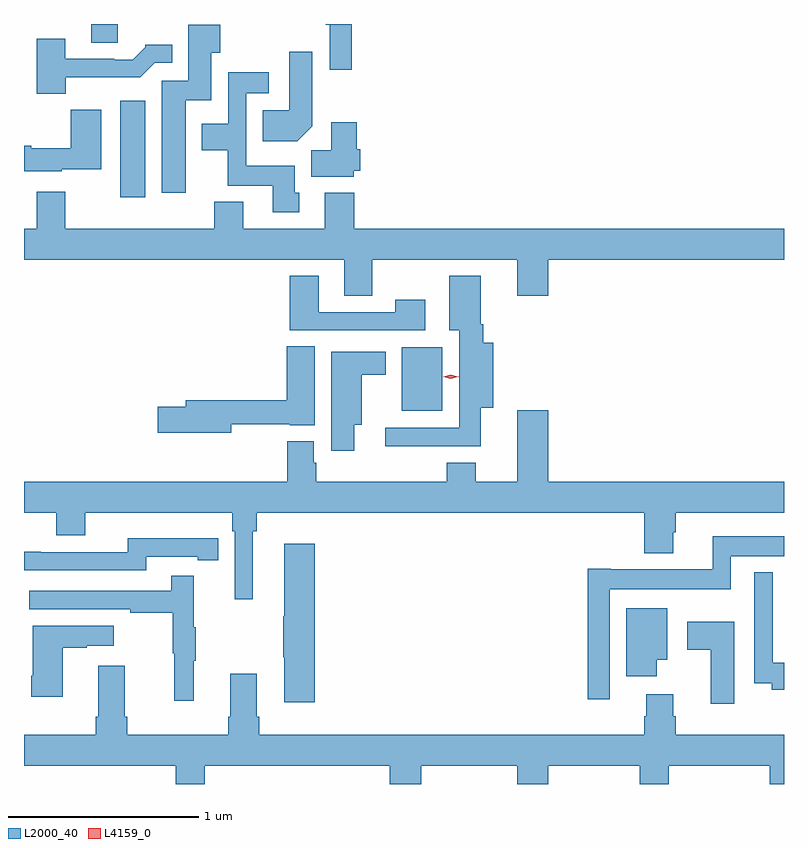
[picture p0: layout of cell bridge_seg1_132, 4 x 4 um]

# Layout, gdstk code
import gdstk
lib = gdstk.Library(unit=1e-6, precision=1e-09)
def R(c, l, rs):  # rectangles x0, y0, x1, y1
    for r in rs: c.add(gdstk.rectangle(r[:2], r[2:], *l))
def P(c, l, *ps):  # polygons
    for p in ps: c.add(gdstk.Polygon(p, *l))
L2000_40 = (2000, 40)
L4159_0 = (4159, 0)

bridge_seg1_132 = lib.new_cell('bridge_seg1_132')
R(bridge_seg1_132, L2000_40, [(500.066,533.621,500.278,533.956), (498.584,534.744,498.715,535.252), (498.431,535.558,498.571,535.657)])
P(bridge_seg1_132, L2000_40, [(499.802,535.657),(499.666,535.657),(499.666,535.652),(499.686,535.652),(499.686,535.416),(499.802,535.416)],
  [(498.928,535.256),(499.063,535.256),(499.063,535.507),(499.11,535.507),(499.11,535.654),(498.941,535.654),(498.941,535.359),(498.803,535.359),(498.803,534.768),(498.928,534.768)],
  [(498.298,535.376),(498.689,535.376),(498.765,535.452),(498.856,535.452),(498.856,535.549),(498.714,535.549),(498.714,535.534),(498.65,535.47),(498.551,535.47),(498.551,535.473),(498.295,535.473),(498.295,535.579),(498.143,535.579),(498.143,535.289),(498.298,535.289)],
  [(499.594,535.118),(499.594,535.51),(499.472,535.51),(499.472,535.204),(499.333,535.204),(499.333,535.04),(499.516,535.04)],
  [(499.525,534.768),(499.501,534.768),(499.501,534.91),(499.248,534.91),(499.248,535.293),(499.366,535.293),(499.366,535.402),(499.152,535.402),(499.152,535.132),(499.013,535.132),(499.013,534.992),(499.15,534.992),(499.15,534.806),(499.385,534.806),(499.385,534.666),(499.525,534.666)],
  [(498.276,534.893),(498.484,534.893),(498.484,535.207),(498.322,535.207),(498.322,535.003),(498.114,535.003),(498.114,535.016),(498.077,535.016),(498.077,534.881),(498.276,534.881)],
  [(499.812,534.885),(499.847,534.885),(499.847,534.999),(499.829,534.999),(499.829,535.141),(499.694,535.141),(499.694,534.992),(499.589,534.992),(499.589,534.854),(499.812,534.854)],
  [(499.911,534.416),(500.672,534.416),(500.672,534.228),(500.836,534.228),(500.836,534.416),(502.077,534.416),(502.077,534.58),(499.814,534.58),(499.814,534.769),(499.661,534.769),(499.661,534.58),(499.231,534.58),(499.231,534.721),(499.079,534.721),(499.079,534.58),(498.295,534.58),(498.295,534.775),(498.143,534.775),(498.143,534.58),(498.077,534.58),(498.077,534.416),(499.763,534.416),(499.763,534.226),(499.911,534.226)],
  [(500.482,533.636),(500.548,533.636),(500.548,533.98),(500.495,533.98),(500.495,534.076),(500.482,534.076),(500.482,534.331),(500.315,534.331),(500.315,534.044),(500.369,534.044),(500.369,533.532),(499.977,533.532),(499.977,533.435),(500.482,533.435)],
  [(500.188,534.205),(500.032,534.205),(500.032,534.141),(499.627,534.141),(499.627,534.331),(499.475,534.331),(499.475,534.045),(500.188,534.045)],
  [(499.168,533.55),(499.476,533.55),(499.476,533.546),(499.606,533.546),(499.606,533.96),(499.46,533.96),(499.46,533.678),(498.929,533.678),(498.929,533.642),(498.78,533.642),(498.78,533.507),(499.168,533.507)],
  [(499.816,533.549),(499.855,533.549),(499.855,533.81),(499.981,533.81),(499.981,533.932),(499.694,533.932),(499.694,533.412),(499.816,533.412)],
  [(499.282,532.988),(499.301,532.988),(499.301,533.084),(501.341,533.084),(501.341,532.871),(501.493,532.871),(501.493,532.983),(501.506,532.983),(501.506,533.084),(502.077,533.084),(502.077,533.248),(500.836,533.248),(500.836,533.623),(500.672,533.623),(500.672,533.248),(500.455,533.248),(500.455,533.347),(500.303,533.347),(500.303,533.248),(499.616,533.248),(499.616,533.349),(499.603,533.349),(499.603,533.461),(499.463,533.461),(499.463,533.248),(498.077,533.248),(498.077,533.084),(498.248,533.084),(498.248,532.967),(498.4,532.967),(498.4,533.084),(499.172,533.084),(499.172,532.988),(499.185,532.988),(499.185,532.629),(499.282,532.629)],
  [(501.159,532.682),(501.798,532.682),(501.798,532.856),(502.077,532.856),(502.077,532.96),(501.701,532.96),(501.701,532.786),(501.166,532.786),(501.166,532.789),(501.043,532.789),(501.043,532.104),(501.159,532.104)],
  [(498.72,532.854),(498.992,532.854),(498.992,532.834),(499.1,532.834),(499.1,532.95),(498.992,532.95),(498.992,532.951),(498.624,532.951),(498.624,532.878),(498.164,532.878),(498.164,532.88),(498.077,532.88),(498.077,532.782),(498.72,532.782)],
  [(499.607,532.921),(499.448,532.921),(499.448,532.541),(499.441,532.541),(499.441,532.324),(499.448,532.324),(499.448,532.086),(499.607,532.086)],
  [(502.077,532.294),(502.017,532.294),(502.017,532.771),(501.921,532.771),(501.921,532.188),(502.013,532.188),(502.013,532.154),(502.077,532.154)],
  [(498.971,532.307),(498.982,532.307),(498.982,532.481),(498.971,532.481),(498.971,532.753),(498.853,532.753),(498.853,532.674),(498.105,532.674),(498.105,532.578),(498.637,532.578),(498.637,532.558),(498.861,532.558),(498.861,532.344),(498.868,532.344),(498.868,532.095),(498.971,532.095)],
  [(501.406,532.31),(501.463,532.31),(501.463,532.582),(501.248,532.582),(501.248,532.224),(501.406,532.224)],
  [(501.814,532.51),(501.567,532.51),(501.567,532.363),(501.692,532.363),(501.692,532.08),(501.814,532.08)],
  [(498.28,532.375),(498.407,532.375),(498.407,532.385),(498.55,532.385),(498.55,532.489),(498.122,532.489),(498.122,532.228),(498.115,532.228),(498.115,532.116),(498.28,532.116)],
  [(499.028,531.752),(500.003,531.752),(500.003,531.657),(500.168,531.657),(500.168,531.752),(500.672,531.752),(500.672,531.657),(500.836,531.657),(500.836,531.752),(501.317,531.752),(501.317,531.657),(501.47,531.657),(501.47,531.752),(502.001,531.752),(502.001,531.657),(502.077,531.657),(502.077,531.916),(501.506,531.916),(501.506,532.014),(501.493,532.014),(501.493,532.129),(501.353,532.129),(501.353,532.014),(501.341,532.014),(501.341,531.916),(499.316,531.916),(499.316,532.012),(499.303,532.012),(499.303,532.237),(499.163,532.237),(499.163,532.012),(499.151,532.012),(499.151,531.916),(498.62,531.916),(498.62,532.012),(498.607,532.012),(498.607,532.279),(498.467,532.279),(498.467,532.012),(498.455,532.012),(498.455,531.916),(498.077,531.916),(498.077,531.752),(498.875,531.752),(498.875,531.657),(499.028,531.657)])
P(bridge_seg1_132, L4159_0, [(500.323,533.791),(500.283,533.8),(500.283,533.801),(500.283,533.801),(500.323,533.811),(500.363,533.801),(500.364,533.801),(500.363,533.8)])

lib.write_gds('bridge_seg1_132.gds')
